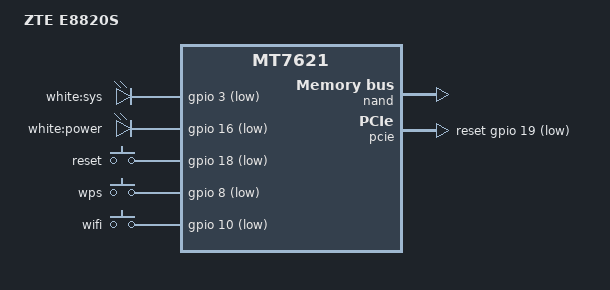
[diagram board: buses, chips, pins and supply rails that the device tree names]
#include "mt7621.dtsi"

#include <dt-bindings/gpio/gpio.h>
#include <dt-bindings/input/input.h>

/ {
       model = "ZTE E8820S";
       compatible = "zte,e8820s", "mediatek,mt7621-soc";

       aliases {
               led-boot = &led_power;
               led-failsafe = &led_power;
               led-running = &led_power;
               led-upgrade = &led_power;
       };

       chosen {
               bootargs = "console=ttyS0,115200";
       };

       leds {
               compatible = "gpio-leds";

               led_sys: sys {
                       label = "white:sys";
                       gpios = <&gpio 3 GPIO_ACTIVE_LOW>;
               };

               led_power: power {
                       label = "white:power";
                       gpios = <&gpio 16 GPIO_ACTIVE_LOW>;
               };

       };

       keys {
               compatible = "gpio-keys";

               reset {
                       label = "reset";
                       gpios = <&gpio 18 GPIO_ACTIVE_LOW>;
                       linux,code = <KEY_RESTART>;
               };

               wps {
                       label = "wps";
                       gpios = <&gpio 8 GPIO_ACTIVE_LOW>;
                       linux,code = <KEY_WPS_BUTTON>;
               };

               wifi {
                       label = "wifi";
                       gpios = <&gpio 10 GPIO_ACTIVE_LOW>;
                       linux,code = <KEY_RFKILL>;
               };
       };
};

&nand {
       status = "okay";

       partitions {
               compatible = "fixed-partitions";
               #address-cells = <1>;
               #size-cells = <1>;

               partition@0 {
                       label = "u-boot";
                       reg = <0x0 0x80000>;
                       read-only;
               };

               partition@80000 {
                       label = "u-boot-env";
                       reg = <0x80000 0x80000>;
                       read-only;
               };

               factory: partition@100000 {
                       label = "factory";
                       reg = <0x100000 0x40000>;
                       read-only;
               };

               partition@140000 {
                       label = "kernel";
                       reg = <0x140000 0x400000>;
               };

               partition@540000 {
                       label = "ubi";
                       reg = <0x540000 0x7a40000>;
               };

               /*
                * Leave 512 KiB for the bad block table
                */
       };
};

&pcie {
       status = "okay";
       reset-gpios = <&gpio 19 GPIO_ACTIVE_LOW>,
                                 <&gpio 4 GPIO_ACTIVE_LOW>;
};


&pcie0 {
    mt76@0,0 {
        reg = <0x0000 0 0 0 0>;
        mediatek,mtd-eeprom = <&factory 0x0000>;

        led {
            led-active-low;
        };

    };
};

&pcie1 {
    mt76@0,0 {
        reg = <0x0000 0 0 0 0>;
        mediatek,mtd-eeprom = <&factory 0x8000>;
        ieee80211-freq-limit = <5000000 6000000>;

        led {
            led-sources = <2>;
            led-active-low;
        };

    };
};


&gmac0 {
    mtd-mac-address = <&factory 0xe000>;
};

&switch0 {
    ports {
        port@4 {
            status = "okay";
            label = "wan";
            mtd-mac-address = <&factory 0xe006>;
        };

        port@0 {
            status = "okay";
            label = "lan1";
        };

        port@1 {
            status = "okay";
            label = "lan2";
        };

        port@2 {
            status = "okay";
            label = "lan3";
        };

        port@3 {
            status = "okay";
            label = "lan4";
        };
    };
};

&state_default {
       gpio {
               groups = "jtag", "uart2", "uart3", "wdt";
               function = "gpio";
       };
};

&factory {
       compatible = "nvmem-cells";
       #address-cells = <1>;
       #size-cells = <1>;

       macaddr_factory_e000: macaddr@e000 {
               reg = <0xe000 0x6>;
       };
       macaddr_factory_e006: macaddr@e006 {
               reg = <0xe006 0x6>;
       };
};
